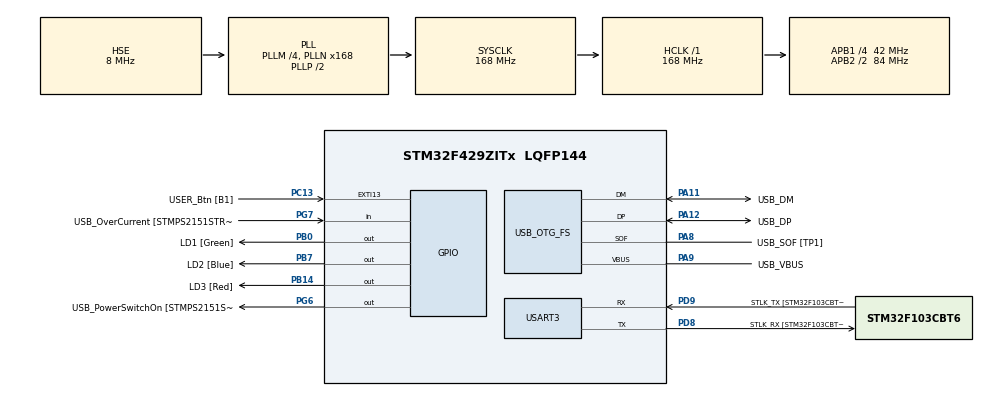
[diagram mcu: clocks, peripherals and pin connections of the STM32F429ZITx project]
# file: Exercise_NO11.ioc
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Mcu.Family=STM32F4
Mcu.Name=STM32F429ZITx
Mcu.Package=LQFP144
NVIC.OTG_FS_IRQn=true\:0\:0\:false\:false\:true\:false\:true\:true
NVIC.PriorityGroup=NVIC_PRIORITYGROUP_4
PA1.GPIO_Label=RMII_REF_CLK [LAN8742A-CZ-TR_REFCLK0]
PA1.Signal=ETH_REF_CLK
PA10.GPIO_Label=USB_ID
PA10.Signal=USB_OTG_FS_ID
PA11.GPIO_Label=USB_DM
PA11.Mode=Device_Only
PA11.Signal=USB_OTG_FS_DM
PA12.GPIO_Label=USB_DP
PA12.Mode=Device_Only
PA12.Signal=USB_OTG_FS_DP
PA13.GPIO_Label=TMS
PA13.Mode=Serial_Wire
PA13.Signal=SYS_JTMS-SWDIO
PA14.GPIO_Label=TCK
PA14.Mode=Serial_Wire
PA14.Signal=SYS_JTCK-SWCLK
PA2.GPIO_Label=RMII_MDIO [LAN8742A-CZ-TR_MDIO]
PA2.Signal=ETH_MDIO
PA7.GPIO_Label=RMII_CRS_DV [LAN8742A-CZ-TR_CRS_DV]
PA7.Signal=ETH_CRS_DV
PA8.GPIO_Label=USB_SOF [TP1]
PA8.Mode=Activate_SOF_FS
PA8.Signal=USB_OTG_FS_SOF
PA9.GPIO_Label=USB_VBUS
PA9.Mode=Activate_VBUS
PA9.Signal=USB_OTG_FS_VBUS
PB0.GPIO_Label=LD1 [Green]
PB0.Signal=GPIO_Output
PB13.GPIO_Label=RMII_TXD1 [LAN8742A-CZ-TR_TXD1]
PB13.Signal=ETH_TXD1
PB14.GPIO_Label=LD3 [Red]
PB14.Signal=GPIO_Output
PB7.GPIO_Label=LD2 [Blue]
PB7.Signal=GPIO_Output
PC1.GPIO_Label=RMII_MDC [LAN8742A-CZ-TR_MDC]
PC1.Signal=ETH_MDC
PC13.GPIO_Label=USER_Btn [B1]
PC13.Signal=GPXTI13
PC14/OSC32_IN.Mode=LSE-External-Oscillator
PC14/OSC32_IN.Signal=RCC_OSC32_IN
PC15/OSC32_OUT.Mode=LSE-External-Oscillator
PC15/OSC32_OUT.Signal=RCC_OSC32_OUT
PC4.GPIO_Label=RMII_RXD0 [LAN8742A-CZ-TR_RXD0]
PC4.Signal=ETH_RXD0
PC5.GPIO_Label=RMII_RXD1 [LAN8742A-CZ-TR_RXD1]
PC5.Signal=ETH_RXD1
PD8.GPIO_Label=STLK_RX [STM32F103CBT6_PA3]
PD8.Mode=Asynchronous
PD8.Signal=USART3_TX
PD9.GPIO_Label=STLK_TX [STM32F103CBT6_PA2]
PD9.Mode=Asynchronous
PD9.Signal=USART3_RX
PG11.GPIO_Label=RMII_TX_EN [LAN8742A-CZ-TR_TXEN]
PG11.Signal=ETH_TX_EN
PG13.GPIO_Label=RMII_TXD0 [LAN8742A-CZ-TR_TXD0]
PG13.Signal=ETH_TXD0
PG6.GPIO_Label=USB_PowerSwitchOn [STMPS2151STR_EN]
PG6.Signal=GPIO_Output
PG7.GPIO_Label=USB_OverCurrent [STMPS2151STR_FAULT]
PG7.Signal=GPIO_Input
PH0/OSC_IN.GPIO_Label=MCO [STM32F103CBT6_PA8]
PH0/OSC_IN.Mode=HSE-External-Clock-Source
PH0/OSC_IN.Signal=RCC_OSC_IN
PH1/OSC_OUT.Mode=HSE-External-Clock-Source
PH1/OSC_OUT.Signal=RCC_OSC_OUT
ProjectManager.HeapSize=0x200
ProjectManager.StackSize=0x400
ProjectManager.TargetToolchain=STM32CubeIDE
RCC.48MHZClocksFreq_Value=48000000
RCC.AHBFreq_Value=168000000
RCC.APB1CLKDivider=RCC_HCLK_DIV4
RCC.APB1Freq_Value=42000000
RCC.APB1TimFreq_Value=84000000
RCC.APB2CLKDivider=RCC_HCLK_DIV2
RCC.APB2Freq_Value=84000000
RCC.APB2TimCLKDivider=2
RCC.APB2TimFreq_Value=168000000
RCC.CortexFreq_Value=168000000
RCC.HCLKFreq_Value=168000000
RCC.HSE_VALUE=8000000
RCC.HSI_VALUE=16000000
RCC.PLLM=4
RCC.PLLMUL=RCC_PLL_MUL9
RCC.PLLN=168
RCC.PLLQ=7
RCC.PRESCALERUSB=RCC_USBCLKSOURCE_PLL_DIV1_5
RCC.SYSCLKFreq_VALUE=168000000
RCC.SYSCLKSource=RCC_SYSCLKSOURCE_PLLCLK
RCC.SYSCLKSourceVirtual=RCC_SYSCLKSOURCE_PLLCLK
RCC.USBFreq_Value=48000000
RCC.VCOOutputFreq_Value=336000000
USART3.VirtualMode=VM_ASYNC
USB_DEVICE.CLASS_NAME_FS=HID
USB_DEVICE.VirtualMode-HID_FS=Hid
USB_DEVICE.VirtualModeFS=Hid_FS
USB_OTG_FS.VirtualMode=Device_Only
VP_USB_DEVICE_VS_USB_DEVICE_HID_FS.Mode=HID_FS
board=NUCLEO-F429ZI

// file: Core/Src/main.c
/* USER CODE BEGIN Header */
/**
  ******************************************************************************
  * @file           : main.c
  * @brief          : Main program body
  ******************************************************************************
  * @attention
  *
  * Copyright (c) 2022 STMicroelectronics.
  * All rights reserved.
  *
  * This software is licensed under terms that can be found in the LICENSE file
  * in the root directory of this software component.
  * If no LICENSE file comes with this software, it is provided AS-IS.
  *
  ******************************************************************************
  */
/* USER CODE END Header */
#include "main.h"
#include "usb_device.h"

/* USER CODE BEGIN Includes */
#include "usbd_hid.h"
#include <math.h>
#include <stdbool.h>
/* USER CODE END Includes */

UART_HandleTypeDef huart3;

/* USER CODE BEGIN PV */
extern USBD_HandleTypeDef hUsbDeviceFS;

/* USER CODE END PV */

void SystemClock_Config(void);
static void MX_GPIO_Init(void);
static void MX_USART3_UART_Init(void);

/* USER CODE BEGIN 0 */

float x, y;

static void step(int8_t x, int8_t y, uint8_t btn){
	uint8_t buff[4];
	if(btn){
		buff[0] = 0x01;
	}
	else
		buff[0] = 0x00;

	buff[1] = (int8_t)(x); // posun X
	buff[2] = (int8_t)(y); // posun Y
	buff[3] = 0; // bez scrollu
	USBD_HID_SendReport(&hUsbDeviceFS, buff, sizeof(buff));
	HAL_Delay(USBD_HID_GetPollingInterval(&hUsbDeviceFS));
}

void circle(int16_t radius){

	int16_t angle = 360+1;

	float pi = 3.1415;

	for(int16_t i = 0; i < angle; i+=5){
		x = radius * cos(i*2*pi/360);
		y = radius * sin(i*2*pi/360);
		step(x, y, 1);
	}
	step(0, 0, 0);
}

void half_circle(int16_t radius){

	int16_t angle = 270;

	float pi = 3.1415;

	for(int16_t i = 90; i < angle; i+=5){
		x = radius * cos(i*2*pi/360);
		y = radius * sin(i*2*pi/360);
		step(x, y, 1);
	}
	step(0, 0, 0);
}

/* USER CODE END 0 */

int main(void)
{

  /* MCU Configuration--------------------------------------------------------*/

  /* Reset of all peripherals, Initializes the Flash interface and the Systick. */
  HAL_Init();

  /* Configure the system clock */
  SystemClock_Config();

  /* Initialize all configured peripherals */
  MX_GPIO_Init();
  MX_USART3_UART_Init();
  MX_USB_DEVICE_Init();

  /* Infinite loop */
  /* USER CODE BEGIN WHILE */
  while (1)
  {
	  if(HAL_GPIO_ReadPin(USER_Btn_GPIO_Port, USER_Btn_Pin)){

		  //suprised face
		  /*
		  circle(10);
		  step(0, 0, 0);

		  step(40,20,0);
		  circle(2);
		  step(0, 0, 0);

		  step(-80,20,0);
		  circle(2);
		  step(0, 0, 0);

		  step(30,50,0);
		  circle(5);
		  step(0, 0, 0);
		  */

		  //smiley face
		  circle(10);
		  step(0, 0, 0);

		  step(40,30,0);
		  circle(2);
		  step(0, 0, 0);

		  step(-80,0,0);
		  circle(2);
		  step(0, 0, 0);

		  step(40,20,1);
		  step(0,20,1);
		  step(0, 0, 0);

		  step(15,20,0);
		  half_circle(5);
		  step(0, 0, 0);

	  }

    /* USER CODE END WHILE */

  }
}

void SystemClock_Config(void)
{
  RCC_OscInitTypeDef RCC_OscInitStruct = {0};
  RCC_ClkInitTypeDef RCC_ClkInitStruct = {0};

  /** Configure the main internal regulator output voltage
  */
  __HAL_RCC_PWR_CLK_ENABLE();
  __HAL_PWR_VOLTAGESCALING_CONFIG(PWR_REGULATOR_VOLTAGE_SCALE1);

  /** Initializes the RCC Oscillators according to the specified parameters
  * in the RCC_OscInitTypeDef structure.
  */
  RCC_OscInitStruct.OscillatorType = RCC_OSCILLATORTYPE_HSE;
  RCC_OscInitStruct.HSEState = RCC_HSE_BYPASS;
  RCC_OscInitStruct.PLL.PLLState = RCC_PLL_ON;
  RCC_OscInitStruct.PLL.PLLSource = RCC_PLLSOURCE_HSE;
  RCC_OscInitStruct.PLL.PLLM = 4;
  RCC_OscInitStruct.PLL.PLLN = 168;
  RCC_OscInitStruct.PLL.PLLP = RCC_PLLP_DIV2;
  RCC_OscInitStruct.PLL.PLLQ = 7;
  if (HAL_RCC_OscConfig(&RCC_OscInitStruct) != HAL_OK)
  {
    Error_Handler();
  }

  /** Initializes the CPU, AHB and APB buses clocks
  */
  RCC_ClkInitStruct.ClockType = RCC_CLOCKTYPE_HCLK|RCC_CLOCKTYPE_SYSCLK
                              |RCC_CLOCKTYPE_PCLK1|RCC_CLOCKTYPE_PCLK2;
  RCC_ClkInitStruct.SYSCLKSource = RCC_SYSCLKSOURCE_PLLCLK;
  RCC_ClkInitStruct.AHBCLKDivider = RCC_SYSCLK_DIV1;
  RCC_ClkInitStruct.APB1CLKDivider = RCC_HCLK_DIV4;
  RCC_ClkInitStruct.APB2CLKDivider = RCC_HCLK_DIV2;

  if (HAL_RCC_ClockConfig(&RCC_ClkInitStruct, FLASH_LATENCY_5) != HAL_OK)
  {
    Error_Handler();
  }
}

static void MX_USART3_UART_Init(void)
{

  huart3.Instance = USART3;
  huart3.Init.BaudRate = 115200;
  huart3.Init.WordLength = UART_WORDLENGTH_8B;
  huart3.Init.StopBits = UART_STOPBITS_1;
  huart3.Init.Parity = UART_PARITY_NONE;
  huart3.Init.Mode = UART_MODE_TX_RX;
  huart3.Init.HwFlowCtl = UART_HWCONTROL_NONE;
  huart3.Init.OverSampling = UART_OVERSAMPLING_16;
  if (HAL_UART_Init(&huart3) != HAL_OK)
  {
    Error_Handler();
  }

}

static void MX_GPIO_Init(void)
{
  GPIO_InitTypeDef GPIO_InitStruct = {0};

  /* GPIO Ports Clock Enable */
  __HAL_RCC_GPIOC_CLK_ENABLE();
  __HAL_RCC_GPIOH_CLK_ENABLE();
  __HAL_RCC_GPIOA_CLK_ENABLE();
  __HAL_RCC_GPIOB_CLK_ENABLE();
  __HAL_RCC_GPIOD_CLK_ENABLE();
  __HAL_RCC_GPIOG_CLK_ENABLE();

  /*Configure GPIO pin Output Level */
  HAL_GPIO_WritePin(GPIOB, LD1_Pin|LD3_Pin|LD2_Pin, GPIO_PIN_RESET);

  /*Configure GPIO pin Output Level */
  HAL_GPIO_WritePin(USB_PowerSwitchOn_GPIO_Port, USB_PowerSwitchOn_Pin, GPIO_PIN_RESET);

  /*Configure GPIO pin : USER_Btn_Pin */
  GPIO_InitStruct.Pin = USER_Btn_Pin;
  GPIO_InitStruct.Mode = GPIO_MODE_IT_RISING;
  GPIO_InitStruct.Pull = GPIO_NOPULL;
  HAL_GPIO_Init(USER_Btn_GPIO_Port, &GPIO_InitStruct);

  /*Configure GPIO pins : RMII_MDC_Pin RMII_RXD0_Pin RMII_RXD1_Pin */
  GPIO_InitStruct.Pin = RMII_MDC_Pin|RMII_RXD0_Pin|RMII_RXD1_Pin;
  GPIO_InitStruct.Mode = GPIO_MODE_AF_PP;
  GPIO_InitStruct.Pull = GPIO_NOPULL;
  GPIO_InitStruct.Speed = GPIO_SPEED_FREQ_VERY_HIGH;
  GPIO_InitStruct.Alternate = GPIO_AF11_ETH;
  HAL_GPIO_Init(GPIOC, &GPIO_InitStruct);

  /*Configure GPIO pins : RMII_REF_CLK_Pin RMII_MDIO_Pin RMII_CRS_DV_Pin */
  GPIO_InitStruct.Pin = RMII_REF_CLK_Pin|RMII_MDIO_Pin|RMII_CRS_DV_Pin;
  GPIO_InitStruct.Mode = GPIO_MODE_AF_PP;
  GPIO_InitStruct.Pull = GPIO_NOPULL;
  GPIO_InitStruct.Speed = GPIO_SPEED_FREQ_VERY_HIGH;
  GPIO_InitStruct.Alternate = GPIO_AF11_ETH;
  HAL_GPIO_Init(GPIOA, &GPIO_InitStruct);

  /*Configure GPIO pins : LD1_Pin LD3_Pin LD2_Pin */
  GPIO_InitStruct.Pin = LD1_Pin|LD3_Pin|LD2_Pin;
  GPIO_InitStruct.Mode = GPIO_MODE_OUTPUT_PP;
  GPIO_InitStruct.Pull = GPIO_NOPULL;
  GPIO_InitStruct.Speed = GPIO_SPEED_FREQ_LOW;
  HAL_GPIO_Init(GPIOB, &GPIO_InitStruct);

  /*Configure GPIO pin : RMII_TXD1_Pin */
  GPIO_InitStruct.Pin = RMII_TXD1_Pin;
  GPIO_InitStruct.Mode = GPIO_MODE_AF_PP;
  GPIO_InitStruct.Pull = GPIO_NOPULL;
  GPIO_InitStruct.Speed = GPIO_SPEED_FREQ_VERY_HIGH;
  GPIO_InitStruct.Alternate = GPIO_AF11_ETH;
  HAL_GPIO_Init(RMII_TXD1_GPIO_Port, &GPIO_InitStruct);

  /*Configure GPIO pin : USB_PowerSwitchOn_Pin */
  GPIO_InitStruct.Pin = USB_PowerSwitchOn_Pin;
  GPIO_InitStruct.Mode = GPIO_MODE_OUTPUT_PP;
  GPIO_InitStruct.Pull = GPIO_NOPULL;
  GPIO_InitStruct.Speed = GPIO_SPEED_FREQ_LOW;
  HAL_GPIO_Init(USB_PowerSwitchOn_GPIO_Port, &GPIO_InitStruct);

  /*Configure GPIO pin : USB_OverCurrent_Pin */
  GPIO_InitStruct.Pin = USB_OverCurrent_Pin;
  GPIO_InitStruct.Mode = GPIO_MODE_INPUT;
  GPIO_InitStruct.Pull = GPIO_NOPULL;
  HAL_GPIO_Init(USB_OverCurrent_GPIO_Port, &GPIO_InitStruct);

  /*Configure GPIO pins : RMII_TX_EN_Pin RMII_TXD0_Pin */
  GPIO_InitStruct.Pin = RMII_TX_EN_Pin|RMII_TXD0_Pin;
  GPIO_InitStruct.Mode = GPIO_MODE_AF_PP;
  GPIO_InitStruct.Pull = GPIO_NOPULL;
  GPIO_InitStruct.Speed = GPIO_SPEED_FREQ_VERY_HIGH;
  GPIO_InitStruct.Alternate = GPIO_AF11_ETH;
  HAL_GPIO_Init(GPIOG, &GPIO_InitStruct);

}

void Error_Handler(void)
{
  __disable_irq();
  while (1)
  {
  }
}
